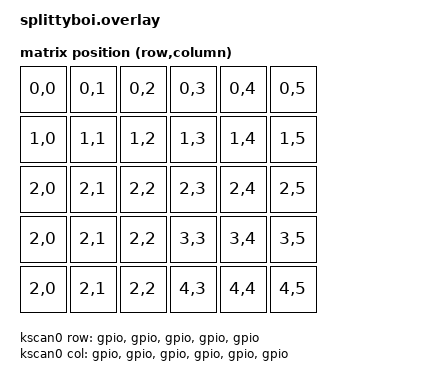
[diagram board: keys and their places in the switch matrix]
#include <dt-bindings/zmk/matrix_transform.h> // Put this with the other includes at the top of your overlay
/ {
    kscan0: kscan0 {
        compatible = "zmk,kscan-gpio-matrix";
        diode-direction = "col2row";
        wakeup-source;

        col-gpios
            = <&gpio GPIO_ACTIVE_HIGH>
            , <&gpio GPIO_ACTIVE_HIGH>
            , <&gpio GPIO_ACTIVE_HIGH>
            , <&gpio GPIO_ACTIVE_HIGH>
            , <&gpio GPIO_ACTIVE_HIGH>
            , <&gpio GPIO_ACTIVE_HIGH>
            ;

        row-gpios
            = <&gpio (GPIO_ACTIVE_HIGH | GPIO_PULL_DOWN)>
            , <&gpio (GPIO_ACTIVE_HIGH | GPIO_PULL_DOWN)>
            , <&gpio (GPIO_ACTIVE_HIGH | GPIO_PULL_DOWN)>
            , <&gpio (GPIO_ACTIVE_HIGH | GPIO_PULL_DOWN)>
            , <&gpio (GPIO_ACTIVE_HIGH | GPIO_PULL_DOWN)>
            ;
    };
};

/ {
    default_transform: keymap_transform0 {
        compatible = "zmk,matrix-transform";
        columns = <6>; // Length of the "col-gpios" array
        rows = <5>; // Length of the "row-gpios" array
        map = <
        //   Key 1 | Key 2 | Key 3
            RC(0,0) RC(0,1) RC(0,2) RC(0,3) RC(0,4) RC(0,5)
        //   Key 4 | Key 5 | Key 6
            RC(1,0) RC(1,1) RC(1,2) RC(1,3) RC(1,4) RC(1,5)
        //   Key 7 | Key 8 | Key 9
            RC(2,0) RC(2,1) RC(2,2) RC(2,3) RC(2,4) RC(2,5)
        //   Key 7 | Key 8 | Key 9
            RC(2,0) RC(2,1) RC(2,2) RC(3,3) RC(3,4) RC(3,5)
        //   Key 7 | Key 8 | Key 9
            RC(2,0) RC(2,1) RC(2,2) RC(4,3) RC(4,4) RC(4,5)
        >;
    };
};

/ {
    physical_layout0: physical_layout_0 { // First physical layout, use different naming for other layouts
        compatible = "zmk,physical-layout";
        display-name = "Default Layout";
        kscan = <&kscan0>; // Label of the kscan node, optional if all layouts use the same
        transform = <&default_transform>; // Label of the matrix transform for this layout
    };
};

/ {
    chosen {
        zmk,physical-layout = &physical_layout0;
        // Other chosen items
    };
};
